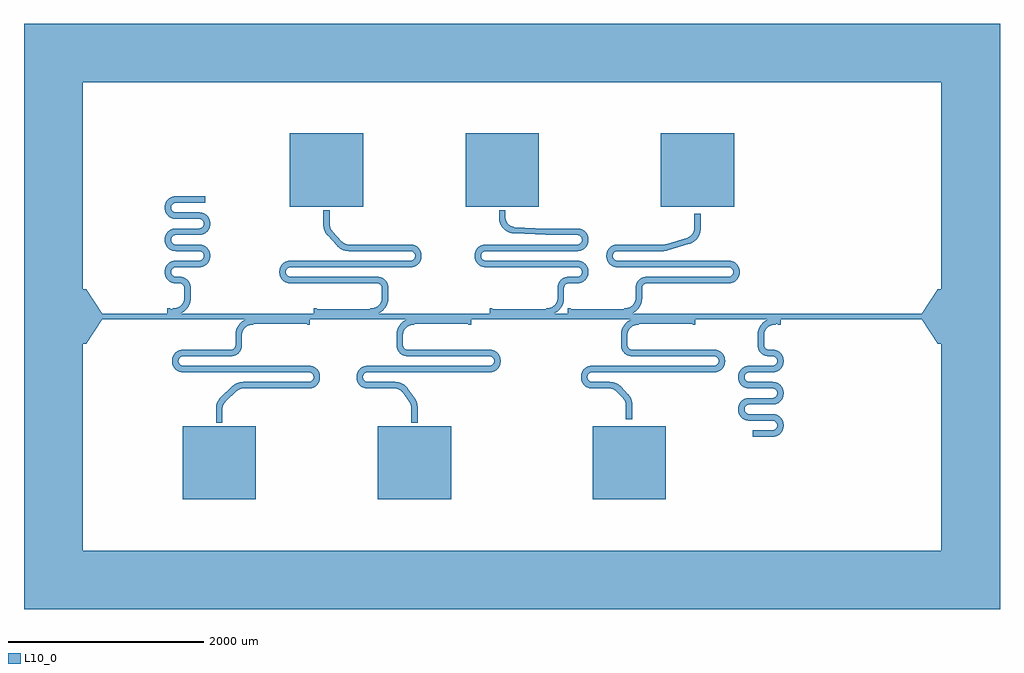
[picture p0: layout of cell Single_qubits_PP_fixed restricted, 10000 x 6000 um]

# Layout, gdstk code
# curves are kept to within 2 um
import gdstk
lib = gdstk.Library(unit=1e-6, precision=1e-09)
def R(c, l, rs):  # rectangles x0, y0, x1, y1
    for r in rs: c.add(gdstk.rectangle(r[:2], r[2:], *l))
def P(c, l, *ps):  # polygons
    for p in ps: c.add(gdstk.Polygon(p, *l))
L10_0 = (10, 0)

single_qubits_pp_fixed_r = lib.new_cell('Single_qubits_PP_fixed restricted')
R(single_qubits_pp_fixed_r, L10_0, [(1625,1125,2375,1875), (1625,1125,2375,1875), (1625,1125,2375,1875), (3625,1125,4375,1875), (3625,1125,4375,1875), (3625,1125,4375,1875), (5825,1125,6575,1875), (5825,1125,6575,1875), (5825,1125,6575,1875), (7467.301,1769,7497.301,1834), (2167.5,2726.5,2232.5,2776.5), (3817.5,2726.5,3882.5,2776.5), (6117.5,2726.5,6182.5,2776.5), (7517.5,2726.5,7582.5,2776.5), (2900,2915,2930,2980), (4550,2915,4580,2980), (6850,2915,6880,2980), (7725,2915,7755,2980), (2350,2924,2900,3029), (4000,2924,4550,3029), (6300,2924,6850,3029), (7700,2924,7725,3029), (800,2971,9200,3029), (1500,2971,1525,3076), (3000,2971,3550,3076), (4800,2971,5350,3076), (5600,2971,6150,3076), (1470,3020,1500,3085), (2970,3020,3000,3085), (4770,3020,4800,3085), (5570,3020,5600,3085), (1642.5,3223.5,1707.5,3273.5), (3667.5,3223.5,3732.5,3273.5), (5467.5,3223.5,5532.5,3273.5), (6267.5,3223.5,6332.5,3273.5), (3338.319,3671,3663.661,3736), (6336.669,3671,6541.681,3736), (5354.646,3836,5557.548,3901), (2725,4125,3475,4875), (2725,4125,3475,4875), (2725,4125,3475,4875), (4525,4125,5275,4875), (4525,4125,5275,4875), (4525,4125,5275,4875), (6525,4125,7275,4875), (6525,4125,7275,4875), (6525,4125,7275,4875), (1827.699,4166,1857.699,4231)])
P(single_qubits_pp_fixed_r, L10_0, [(10000,0),(10000,6000),(0,6000),(0,2721),(132,2721),(132,3279),(600,3279),(600,5400),(9400,5400),(9400,3279),(9868,3279),(9868,2721),(9400,2721),(9400,600),(600,600),(600,2721),(132,2721),(0,2721),(0,0)],
  [(800,2971),(800,3029),(640,3279),(132,3279),(132,2721),(640,2721)],
  [(9200,3029),(9200,2971),(9360,2721),(9868,2721),(9868,3279),(9360,3279)],
  [(10000,0),(10000,6000),(0,6000),(0,2721),(132,2721),(132,3279),(600,3279),(600,5400),(9400,5400),(9400,3279),(9868,3279),(9868,2721),(9400,2721),(9400,600),(600,600),(600,2721),(132,2721),(0,2721),(0,0)],
  [(800,2971),(800,3029),(640,3279),(132,3279),(132,2721),(640,2721)],
  [(9200,3029),(9200,2971),(9360,2721),(9868,2721),(9868,3279),(9360,3279)],
  [(10000,0),(10000,6000),(0,6000),(0,2721),(132,2721),(132,3279),(600,3279),(600,5400),(9400,5400),(9400,3279),(9868,3279),(9868,2721),(9400,2721),(9400,600),(600,600),(600,2721),(132,2721),(0,2721),(0,0)],
  [(800,2971),(800,3029),(640,3279),(132,3279),(132,2721),(640,2721)],
  [(9200,3029),(9200,2971),(9360,2721),(9868,2721),(9868,3279),(9360,3279)],
  [(3550,3085),(3550,3020),(3583.113,3020.82),(3611.972,3026.406),(3639.351,3037.099),(3664.357,3052.549),(3696.642,3084.802),(3720.724,3126.834),(3731.314,3167.961),(3732.5,3223.5),(3667.5,3223.5),(3664.659,3164.212),(3656.306,3142.214),(3641.02,3119.288),(3623.747,3103.369),(3601.341,3091.329),(3578.533,3085.712)],
  [(2695.254,3421.116),(2685.805,3436.098),(2682.5,3453.69),(2685.038,3473.812),(2695.254,3490.884),(2695.254,3565.494),(2663.447,3549.205),(2639.295,3525.053),(2623.504,3494.767),(2617.5,3458.69),(2621.218,3424.807),(2633.461,3395.733),(2653.295,3371.201),(2681.527,3351.976),(2695.254,3346.506)],
  [(2696.81,3492.477),(2711.567,3502.275),(2728.887,3505.985),(3663.661,3506),(3663.661,3571),(2722.094,3570.724),(2695.254,3565.494)],
  [(3663.661,3397.184),(3643.562,3403.507),(3620.19,3406),(2728.887,3406.015),(2710.545,3410.169),(2695.254,3421.116),(2695.254,3346.506),(2729.81,3341),(3622.226,3340.946),(3647.193,3332.443),(3663.661,3312.195)],
  [(3995.496,3730.248),(3962.637,3735.971),(3663.661,3736),(3663.661,3671),(3962.226,3670.946),(3980.465,3666.363),(3995.496,3655.061)],
  [(3960.19,3506),(3995.496,3511.752),(3995.496,3586.939),(3980.465,3575.637),(3962.226,3571.054),(3663.661,3571),(3663.661,3506)],
  [(3732.5,3293.69),(3727.317,3327.26),(3713.725,3355.728),(3690.732,3380.986),(3663.661,3397.184),(3663.661,3312.195),(3667.289,3297.948),(3667.5,3273.5),(3732.5,3273.5)],
  [(3996.267,3512.004),(4028.661,3529.38),(4052.24,3554.091),(4068.079,3587.265),(4072.5,3623.69),(4066.496,3659.767),(4050.705,3690.053),(4026.553,3714.205),(3995.496,3730.248),(3995.496,3655.061),(4004.591,3639.861),(4007.5,3623.31),(4004.962,3603.188),(3995.496,3586.939)],
  [(3338.319,3671),(3338.319,3736),(3299.145,3740.446),(3266.409,3758.121),(3156.846,3876.142),(3142.699,3897.186),(3132.678,3934.731),(3132.5,4090),(3067.5,4090),(3068.674,3921.082),(3077.98,3883.179),(3094.236,3851.294),(3208.611,3723.529),(3232.982,3701.851),(3255.412,3688.234),(3282.886,3677.457),(3308.592,3672.191)],
  [(5350,3085),(5350,3020),(5383.113,3020.82),(5411.972,3026.406),(5439.351,3037.099),(5464.357,3052.549),(5496.642,3084.802),(5520.724,3126.834),(5531.314,3167.961),(5532.5,3223.5),(5467.5,3223.5),(5464.659,3164.212),(5456.306,3142.214),(5441.02,3119.288),(5423.747,3103.369),(5401.341,3091.329),(5378.533,3085.712)],
  [(4701.307,3580.652),(4687.629,3597.036),(4682.5,3618.69),(4686.669,3642.955),(4701.307,3661.348),(4701.307,3732.282),(4667.772,3717.225),(4640.88,3692.161),(4623.504,3659.767),(4617.5,3623.69),(4621.218,3589.807),(4633.461,3560.733),(4653.295,3536.201),(4679.16,3518.14),(4701.307,3509.718)],
  [(4702.807,3662.443),(4715.747,3668.809),(4730.19,3671),(5557.548,3671),(5557.548,3736),(4719.465,3735.508),(4701.307,3732.282)],
  [(5557.548,3571),(4730.19,3571),(4714.688,3573.538),(4701.307,3580.652),(4701.307,3509.718),(4729.81,3506),(5557.548,3506)],
  [(5532.5,3293.31),(5539.242,3317.889),(5557.548,3335.356),(5557.548,3403.731),(5526.821,3392.64),(5501.387,3373.978),(5482.134,3348.988),(5470.576,3319.635),(5467.5,3273.5),(5532.5,3273.5)],
  [(5698.988,3897.2),(5672.637,3900.971),(5557.548,3901),(5557.548,3836),(5673.338,3835.88),(5686.361,3833.091),(5698.988,3826.126)],
  [(5670.19,3671),(5698.988,3674.8),(5698.988,3745.874),(5686.361,3738.909),(5673.338,3736.12),(5557.548,3736),(5557.548,3671)],
  [(5698.988,3567.2),(5672.637,3570.971),(5557.548,3571),(5557.548,3506),(5673.338,3505.88),(5686.361,3503.091),(5698.988,3496.126)],
  [(5558.536,3335.871),(5576.662,3340.88),(5672.637,3341.029),(5698.988,3344.8),(5698.988,3415.874),(5674.448,3406.211),(5557.548,3403.731)],
  [(5701.235,3675.421),(5720.84,3683.14),(5720.84,3888.86),(5698.988,3897.2),(5698.988,3826.126),(5712.863,3808.965),(5717.5,3788.31),(5716.86,3775.74),(5713.331,3764.045),(5698.988,3745.874),(5698.988,3674.8)],
  [(5701.235,3345.421),(5720.84,3353.14),(5720.84,3558.86),(5698.988,3567.2),(5698.988,3496.126),(5712.863,3478.965),(5717.5,3458.31),(5716.86,3445.74),(5713.331,3434.045),(5698.988,3415.874),(5698.988,3344.8)],
  [(5723.179,3684.36),(5748.613,3703.022),(5767.866,3728.012),(5779.424,3757.365),(5782.5,3788.69),(5778.079,3819.735),(5765.158,3848.514),(5746.705,3870.799),(5720.84,3888.86),(5720.84,3683.14)],
  [(5723.179,3354.36),(5748.613,3373.022),(5767.866,3398.012),(5779.424,3427.365),(5782.5,3458.69),(5778.079,3489.735),(5765.158,3518.514),(5746.705,3540.799),(5720.84,3558.86),(5720.84,3353.14)],
  [(5354.646,3836),(5354.646,3901),(5023.371,3916.665),(5003.889,3920.001),(4985.48,3927.197),(4968.901,3937.958),(4954.833,3951.842),(4936.99,3984.696),(4932.582,4009.979),(4932.5,4090),(4867.5,4090),(4868.034,4000.752),(4879.445,3952.782),(4891.319,3929.236),(4909.024,3905.441),(4930.758,3885.26),(4955.798,3869.366),(4986.48,3857.372),(5015.661,3852.07)],
  [(6150,3085),(6150,3020),(6183.113,3020.82),(6211.972,3026.406),(6239.351,3037.099),(6264.357,3052.549),(6296.642,3084.802),(6320.724,3126.834),(6331.314,3167.961),(6332.5,3223.5),(6267.5,3223.5),(6264.659,3164.212),(6256.306,3142.214),(6241.02,3119.288),(6223.747,3103.369),(6201.341,3091.329),(6178.533,3085.712)],
  [(6045.254,3586.116),(6035.805,3601.098),(6032.5,3618.69),(6035.038,3638.812),(6045.254,3655.884),(6045.254,3730.494),(6013.447,3714.205),(5989.295,3690.053),(5973.504,3659.767),(5967.5,3623.69),(5971.218,3589.807),(5983.461,3560.733),(6003.295,3536.201),(6031.527,3516.976),(6045.254,3511.506)],
  [(6046.023,3656.69),(6060.545,3666.831),(6077.774,3670.946),(6336.669,3671),(6336.669,3736),(6077.363,3735.971),(6051.307,3732.282),(6045.254,3730.494)],
  [(6336.669,3571),(6077.774,3571.054),(6060.545,3575.169),(6045.254,3586.116),(6045.254,3511.506),(6077.363,3506.029),(6336.669,3506)],
  [(6332.5,3293.31),(6336.669,3312.955),(6336.669,3397.318),(6309.268,3380.986),(6287.76,3357.909),(6273.504,3329.767),(6267.621,3298.773),(6267.5,3273.5),(6332.5,3273.5)],
  [(7255.496,3565.248),(7220.19,3571),(6336.669,3571),(6336.669,3506),(7221.113,3505.985),(7239.455,3501.831),(7255.496,3490.061)],
  [(6337.137,3313.965),(6354.662,3333.675),(6378.887,3340.985),(7233.158,3341.77),(7255.496,3346.752),(7255.496,3421.939),(7239.455,3410.169),(7221.113,3406.015),(6366.842,3405.23),(6336.669,3397.318)],
  [(7256.267,3347.004),(7288.661,3364.38),(7312.24,3389.091),(7328.079,3422.265),(7332.5,3458.69),(7326.496,3494.767),(7310.705,3525.053),(7286.553,3549.205),(7255.496,3565.248),(7255.496,3490.061),(7264.591,3474.861),(7267.5,3458.31),(7264.962,3438.188),(7255.496,3421.939)],
  [(6541.681,3736),(6541.681,3671),(6568.578,3672.146),(6596.752,3678.084),(6820.741,3746.754),(6847.833,3758.482),(6872.357,3774.917),(6891.343,3793.044),(6908.895,3816.781),(6921.864,3843.301),(6929.193,3868.507),(6932.468,3897.846),(6932.5,4055),(6867.5,4055),(6866.226,3885.433),(6854.341,3852.217),(6831.413,3825.405),(6798.409,3807.861),(6576.008,3739.732)],
  [(2350,2915),(2350,2980),(2316.887,2979.18),(2288.028,2973.594),(2260.649,2962.901),(2235.643,2947.451),(2203.358,2915.198),(2179.276,2873.166),(2168.686,2832.039),(2167.5,2776.5),(2232.5,2776.5),(2235.341,2835.788),(2243.694,2857.786),(2258.98,2880.712),(2276.253,2896.631),(2298.659,2908.671),(2321.467,2914.288)],
  [(1595.254,2509.116),(1585.805,2524.098),(1582.5,2541.69),(1585.038,2561.812),(1595.254,2578.884),(1595.254,2653.494),(1563.447,2637.205),(1539.295,2613.053),(1523.504,2582.767),(1517.5,2546.69),(1521.218,2512.807),(1533.461,2483.733),(1553.295,2459.201),(1581.527,2439.976),(1595.254,2434.506)],
  [(1596.023,2579.69),(1610.545,2589.831),(1628.887,2593.985),(2140.977,2595.971),(2164.962,2603.382),(2164.962,2691.188),(2158.943,2679.307),(2148.988,2668.874),(2136.361,2661.909),(2123.338,2659.12),(1609.023,2657.029),(1595.254,2653.494)],
  [(2164.962,2494),(1628.887,2494.015),(1610.545,2498.169),(1595.254,2509.116),(1595.254,2434.506),(1629.81,2429),(2164.962,2429)],
  [(2166.08,2603.868),(2196.705,2624.201),(2219.14,2653.321),(2230.529,2685.523),(2232.5,2726.5),(2167.5,2726.5),(2164.962,2691.188)],
  [(2955.496,2488.248),(2920.19,2494),(2164.962,2494),(2164.962,2429),(2921.113,2428.985),(2939.455,2424.831),(2955.496,2413.061)],
  [(2922.637,2264.029),(2955.496,2269.752),(2955.496,2344.939),(2939.455,2333.169),(2921.113,2329.015),(2258.319,2329),(2258.319,2264)],
  [(2956.267,2270.004),(2988.661,2287.38),(3012.24,2312.091),(3028.079,2345.265),(3032.5,2381.69),(3026.496,2417.767),(3010.705,2448.053),(2986.553,2472.205),(2955.496,2488.248),(2955.496,2413.061),(2964.591,2397.861),(2967.5,2381.31),(2964.962,2361.188),(2955.496,2344.939)],
  [(2258.319,2264),(2258.319,2329),(2218.203,2326.36),(2183.916,2316.094),(2160.825,2304.027),(2139.958,2288.426),(2004.376,2157.472),(1981.915,2121.308),(1969.122,2077.305),(1967.5,1910),(2032.5,1910),(2032.999,2064.228),(2040.358,2092.737),(2054.627,2116.238),(2190.581,2245.741),(2222.244,2260.701)],
  [(4000,2915),(4000,2980),(3966.887,2979.18),(3938.028,2973.594),(3910.649,2962.901),(3885.643,2947.451),(3853.358,2915.198),(3829.276,2873.166),(3818.686,2832.039),(3817.5,2776.5),(3882.5,2776.5),(3885.341,2835.788),(3893.694,2857.786),(3908.98,2880.712),(3926.253,2896.631),(3948.659,2908.671),(3971.467,2914.288)],
  [(3485.254,2344.116),(3475.805,2359.098),(3472.5,2376.69),(3475.038,2396.812),(3485.254,2413.884),(3485.254,2488.494),(3453.447,2472.205),(3429.295,2448.053),(3413.504,2417.767),(3407.5,2381.69),(3411.218,2347.807),(3423.461,2318.733),(3443.295,2294.201),(3471.527,2274.976),(3485.254,2269.506)],
  [(3885.409,2690.139),(3882.5,2726.5),(3817.5,2726.5),(3819.471,2685.523),(3830.86,2653.321),(3853.295,2624.201),(3885.409,2603.22)],
  [(3486.81,2415.477),(3501.567,2425.275),(3518.887,2428.985),(3885.409,2429),(3885.409,2494),(3499.023,2492.029),(3485.254,2488.494)],
  [(3791.681,2329),(3517.774,2329.054),(3500.545,2333.169),(3485.254,2344.116),(3485.254,2269.506),(3517.363,2264.029),(3791.681,2264)],
  [(4805.496,2653.248),(4770.19,2659),(3927.774,2659.054),(3913.639,2661.909),(3901.902,2668.205),(3892.374,2677.512),(3885.409,2690.139),(3885.409,2603.22),(3906.438,2596.493),(3929.81,2594),(4771.113,2593.985),(4789.455,2589.831),(4805.496,2578.061)],
  [(4770.19,2429),(4805.496,2434.752),(4805.496,2509.939),(4789.455,2498.169),(4771.113,2494.015),(3885.409,2494),(3885.409,2429)],
  [(4806.267,2435.004),(4838.661,2452.38),(4862.24,2477.091),(4878.079,2510.265),(4882.5,2546.69),(4876.496,2582.767),(4860.705,2613.053),(4836.553,2637.205),(4805.496,2653.248),(4805.496,2578.061),(4814.591,2562.861),(4817.5,2546.31),(4814.962,2526.188),(4805.496,2509.939)],
  [(3791.681,2329),(3791.681,2264),(3813.21,2263.027),(3832.28,2258.316),(3865.706,2238.056),(3949.129,2125.158),(3959.746,2106.294),(3967.42,2072.108),(3967.5,1910),(4032.5,1910),(4031.978,2081.229),(4025.191,2116.388),(4010.868,2149.207),(3929.586,2263.864),(3902.44,2292.224),(3878.036,2308.754),(3851.047,2320.603),(3822.363,2327.383)],
  [(6300,2915),(6300,2980),(6266.887,2979.18),(6238.028,2973.594),(6210.649,2962.901),(6185.643,2947.451),(6153.358,2915.198),(6129.276,2873.166),(6118.686,2832.039),(6117.5,2776.5),(6182.5,2776.5),(6185.341,2835.788),(6193.694,2857.786),(6208.98,2880.712),(6226.253,2896.631),(6248.659,2908.671),(6271.467,2914.288)],
  [(5785.254,2344.116),(5775.805,2359.098),(5772.5,2376.69),(5775.038,2396.812),(5785.254,2413.884),(5785.254,2488.494),(5753.447,2472.205),(5729.295,2448.053),(5713.504,2417.767),(5707.5,2381.69),(5711.218,2347.807),(5723.461,2318.733),(5743.295,2294.201),(5771.527,2274.976),(5785.254,2269.506)],
  [(6185.409,2690.139),(6182.5,2726.5),(6117.5,2726.5),(6119.471,2685.523),(6130.86,2653.321),(6153.295,2624.201),(6185.409,2603.22)],
  [(5786.81,2415.477),(5801.567,2425.275),(5818.887,2428.985),(6185.409,2429),(6185.409,2494),(5799.023,2492.029),(5785.254,2488.494)],
  [(5991.681,2329),(5816.662,2329.12),(5799.535,2333.637),(5785.254,2344.116),(5785.254,2269.506),(5817.363,2264.029),(5991.681,2264)],
  [(7105.496,2653.248),(7070.19,2659),(6227.774,2659.054),(6213.639,2661.909),(6201.902,2668.205),(6192.374,2677.512),(6185.409,2690.139),(6185.409,2603.22),(6206.438,2596.493),(6229.81,2594),(7071.113,2593.985),(7089.455,2589.831),(7105.496,2578.061)],
  [(7070.19,2429),(7105.496,2434.752),(7105.496,2509.939),(7089.455,2498.169),(7071.113,2494.015),(6185.409,2494),(6185.409,2429)],
  [(7106.267,2435.004),(7138.661,2452.38),(7162.24,2477.091),(7178.079,2510.265),(7182.5,2546.69),(7176.496,2582.767),(7160.705,2613.053),(7136.553,2637.205),(7105.496,2653.248),(7105.496,2578.061),(7114.591,2562.861),(7117.5,2546.31),(7114.962,2526.188),(7105.496,2509.939)],
  [(5991.681,2329),(5991.681,2264),(6028.621,2259.561),(6059.804,2243.145),(6143.107,2157.346),(6158.955,2132.749),(6167.42,2096.753),(6167.5,1945),(6232.5,1945),(6231.683,2109.128),(6224.184,2144.161),(6207.479,2179.477),(6189.664,2202.78),(6116.86,2278.941),(6092.063,2300.091),(6069.374,2313.232),(6044.867,2322.553),(6019.18,2327.811)],
  [(1525,3085),(1525,3020),(1558.113,3020.82),(1586.972,3026.406),(1614.351,3037.099),(1639.357,3052.549),(1671.642,3084.802),(1695.724,3126.834),(1706.314,3167.961),(1707.5,3223.5),(1642.5,3223.5),(1639.659,3164.212),(1631.306,3142.214),(1616.02,3119.288),(1598.747,3103.369),(1576.341,3091.329),(1553.533,3085.712)],
  [(1707.5,3293.69),(1702.317,3327.26),(1688.725,3355.728),(1667.763,3379.304),(1641.08,3396.132),(1600.273,3405.879),(1453.019,3406.015),(1476.387,3373.022),(1511.339,3349.816),(1544.465,3341.492),(1602.76,3340.36),(1622.193,3332.443),(1632.626,3322.488),(1639.962,3308.812),(1642.5,3273.5),(1707.5,3273.5)],
  [(1552.774,3406.054),(1537.598,3409.305),(1523.439,3418.004),(1513.681,3430.073),(1508.14,3445.74),(1507.971,3465.159),(1512.629,3479.964),(1523.439,3493.996),(1537.598,3502.695),(1553.887,3505.985),(1797.637,3506.029),(1828.76,3511.183),(1455.601,3511.183),(1446.218,3487.193),(1442.529,3461.137),(1444.471,3432.523),(1453.019,3406.015)],
  [(1831.267,3512.004),(1859.409,3526.26),(1884.12,3549.839),(1900.617,3579.747),(1907.224,3610.594),(1906.73,3636.658),(1840.638,3636.658),(1842.289,3614.052),(1837.371,3597.036),(1825.72,3582.274),(1809.253,3573.191),(1536.62,3569.491),(1511.339,3562.184),(1488.447,3549.205),(1469.196,3531.263),(1455.601,3511.183)],
  [(1906.391,3639.273),(1896.524,3671.973),(1877.299,3700.205),(1850.488,3721.366),(1818.562,3733.507),(1795.19,3736),(1553.887,3736.015),(1535.545,3740.169),(1451.182,3740.169),(1464.295,3716.947),(1482.237,3697.696),(1504.16,3683.14),(1531.438,3673.493),(1554.81,3671),(1799.448,3670.789),(1813.433,3667.275),(1825.72,3659.726),(1835.175,3648.838),(1840.638,3636.658),(1906.73,3636.658)],
  [(1534.535,3740.637),(1521.81,3749.523),(1513.144,3761.048),(1508.335,3774.644),(1507.554,3790.726),(1510.409,3804.861),(1516.705,3816.598),(1526.012,3826.126),(1538.639,3833.091),(1553.887,3835.985),(1802.906,3836.276),(1831.267,3842.004),(1857.636,3855.053),(1464.295,3855.053),(1450.321,3829.719),(1443.27,3801.658),(1443.27,3770.342),(1451.182,3740.169)],
  [(1859.409,3856.26),(1884.12,3879.839),(1900.617,3909.747),(1907.224,3940.594),(1905.007,3977.062),(1904.158,3980.693),(1833.943,3980.693),(1842.029,3960.159),(1840.309,3934.247),(1828.977,3915.31),(1810.312,3903.538),(1796.113,3901.015),(1539.227,3899.891),(1516.247,3894.117),(1497.233,3885.039),(1478.295,3870.799),(1464.295,3855.053)],
  [(1903.782,3982.193),(1891.539,4011.267),(1871.705,4035.799),(1845.84,4053.86),(1818.562,4063.507),(1795.19,4066),(1552.774,4066.054),(1535.545,4070.169),(1521.593,4079.74),(1447.683,4079.74),(1459.842,4053.486),(1478.295,4031.201),(1504.16,4013.14),(1531.438,4003.493),(1554.81,4001),(1797.226,4000.946),(1818.427,3994.819),(1833.943,3980.693)],
  [(1521.023,4080.31),(1509.37,4100.313),(1508.14,4126.26),(1517.374,4147.488),(1534.535,4161.363),(1553.887,4165.985),(1827.699,4166),(1827.699,4231),(1552.363,4230.971),(1528.865,4227.924),(1506.527,4220.024),(1478.295,4200.799),(1455.86,4171.679),(1444.471,4139.477),(1442.992,4102.965),(1447.683,4079.74)],
  [(7700,2915),(7700,2980),(7666.887,2979.18),(7638.028,2973.594),(7610.649,2962.901),(7585.643,2947.451),(7553.358,2915.198),(7529.276,2873.166),(7518.686,2832.039),(7517.5,2776.5),(7582.5,2776.5),(7585.341,2835.788),(7593.694,2857.786),(7608.98,2880.712),(7626.253,2896.631),(7648.659,2908.671),(7671.467,2914.288)],
  [(7672.637,1769.029),(7698.693,1772.718),(7723.179,1782.36),(7744.755,1797.426),(7762.24,1817.091),(7774.679,1840.281),(7781.391,1865.727),(7782.224,1894.406),(7777.246,1920.477),(7703.19,1920.477),(7715.927,1898.614),(7716.444,1871.552),(7705.496,1849.939),(7684.253,1836.191),(7671.113,1834.015),(7497.301,1834),(7497.301,1769)],
  [(7776.496,1922.767),(7763.725,1948.728),(7744.755,1970.574),(7720.84,1986.86),(7693.562,1996.507),(7670.19,1999),(7426.662,1999.12),(7405.611,2005.742),(7390.341,2020.365),(7320.576,2020.365),(7332.134,1991.012),(7351.387,1966.022),(7376.821,1947.36),(7406.438,1936.493),(7429.81,1934),(7672.226,1933.946),(7689.455,1929.831),(7703.19,1920.477),(7777.246,1920.477)],
  [(7389.825,2021.162),(7382.711,2042.052),(7385.038,2066.812),(7396.023,2084.69),(7414.688,2096.462),(7428.887,2098.985),(7685.773,2100.109),(7708.753,2105.883),(7727.767,2114.961),(7746.705,2129.201),(7760.904,2145.225),(7367.772,2145.225),(7342.514,2122.232),(7326.316,2095.161),(7318.27,2064.658),(7319.009,2028.12),(7320.576,2020.365)],
  [(7762.24,2147.091),(7775.617,2172.747),(7782.008,2200.965),(7781.391,2232.273),(7773.684,2260.161),(7688.695,2260.161),(7701.561,2251.996),(7711.319,2239.927),(7716.444,2226.448),(7717.485,2210.387),(7715.309,2197.247),(7708.943,2184.307),(7698.988,2173.874),(7686.361,2166.909),(7671.113,2164.015),(7422.094,2163.724),(7393.733,2157.996),(7367.772,2145.225)],
  [(7772.632,2262.58),(7759.12,2285.161),(7740.732,2303.986),(7718.473,2318.024),(7693.562,2326.507),(7670.19,2329),(7425.552,2329.211),(7411.567,2332.725),(7399.28,2340.274),(7389.825,2351.162),(7384.073,2364.386),(7318.159,2364.386),(7327.368,2330.42),(7345.926,2301.745),(7372.233,2279.961),(7406.438,2266.493),(7429.81,2264),(7671.113,2263.985),(7688.695,2260.161),(7773.684,2260.161)],
  [(7383.802,2365.466),(7382.711,2385.948),(7387.629,2402.964),(7399.28,2417.726),(7415.747,2426.809),(7690.977,2430.971),(7716.08,2438.868),(7736.553,2450.795),(7755.804,2468.737),(7770.163,2490.282),(7396.24,2488.817),(7365.591,2473.74),(7342.514,2452.232),(7325.321,2422.719),(7317.992,2392.035),(7318.159,2364.386)],
  [(7770.36,2490.66),(7778.782,2512.807),(7782.471,2538.863),(7780.529,2567.477),(7771.975,2594),(7669.81,2594),(7685.312,2591.462),(7699.862,2583.436),(7710.758,2570.889),(7716.665,2555.356),(7717.172,2535.945),(7712.371,2520.036),(7701.561,2506.004),(7687.402,2497.305),(7671.113,2494.015),(7427.363,2493.971),(7401.307,2490.282)],
  [(7771.524,2594.973),(7746.705,2628.799),(7713.661,2650.184),(7680.535,2658.508),(7622.24,2659.64),(7602.807,2667.557),(7592.374,2677.512),(7585.038,2691.188),(7582.5,2726.5),(7517.5,2726.5),(7519.009,2688.12),(7529.64,2655.66),(7549.522,2627.887),(7579.16,2606.14),(7601.307,2597.718),(7624.727,2594.121)])

lib.write_gds('Single_qubits_PP_fixed_restricted.gds')
